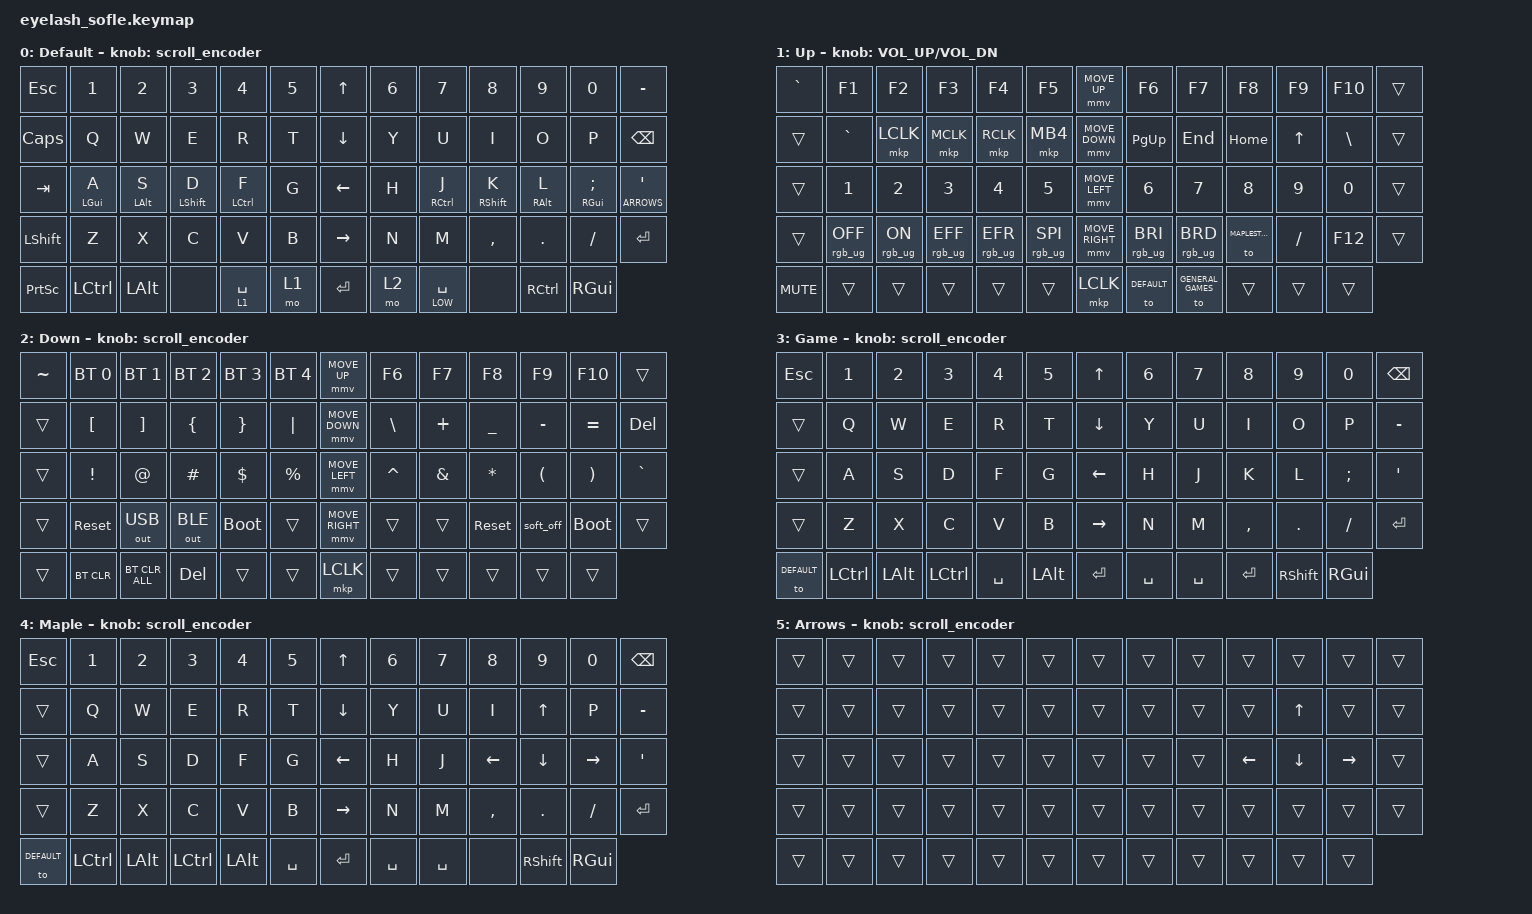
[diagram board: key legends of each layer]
#define ZMK_POINTING_DEFAULT_MOVE_VAL 1200  // 600
#define ZMK_POINTING_DEFAULT_SCRL_VAL 25   // 10
#define DEFAULT 0
#define HIGH 1
#define LOW 2
#define GENERAL_GAMES 3
#define MAPLESTORY 4
#define ARROWS 5

#include <input/processors.dtsi>
#include <zephyr/dt-bindings/input/input-event-codes.h>
#include <behaviors.dtsi>
#include <dt-bindings/zmk/bt.h>
#include <dt-bindings/zmk/keys.h>
#include <dt-bindings/zmk/outputs.h>
#include <dt-bindings/zmk/pointing.h>
#include <dt-bindings/zmk/rgb.h>

&mmv_input_listener { input-processors = <&zip_xy_scaler 2 1>; };

&msc_input_listener { input-processors = <&zip_scroll_scaler 2 1>; };

&msc {
    acceleration-exponent = <1>;      // 0
    time-to-max-speed-ms = <100>;       // 300
    delay-ms = <0>;                   // 0
};

&mmv {
    time-to-max-speed-ms = <500>;
    acceleration-exponent = <1>;
    trigger-period-ms = <16>;
};

&soft_off { hold-time-ms = <2000>; };

/ {
    scroll_encoder: scroll_encoder {
        compatible = "zmk,behavior-sensor-rotate";
        #sensor-binding-cells = <0>;
        bindings = <&msc SCRL_DOWN>, <&msc SCRL_UP>;

        tap-ms = <100>;
    };

    behaviors {
      mt: mod_tap {
            compatible = "zmk,behavior-hold-tap";
            #binding-cells = <2>;
            flavor = "balanced";
            tapping-term-ms = <150>;
            bindings = <&kp>, <&kp>;
            display-name = "Mod-Tap";
            quick-tap-ms = <200>;
        };
    };

    combos {
        compatible = "zmk,combos";

        softoff {
            bindings = <&soft_off>;
            key-positions = <14 28 40>;
        };
    };

    keymap {
        compatible = "zmk,keymap";

        layer0 {
            bindings = <
&kp ESC      &kp N1     &kp N2        &kp N3         &kp N4      &kp N5       &kp UP_ARROW     &kp N6     &kp N7          &kp N8       &kp N9           &kp N0        &kp MINUS
&kp CAPS     &kp Q      &kp W         &kp E          &kp R       &kp T        &kp DOWN_ARROW   &kp Y      &kp U           &kp I        &kp O            &kp P         &kp BACKSPACE
&kp TAB      &mt LGUI A &mt LALT S    &mt LSHIFT D   &mt LCTRL F &kp G        &kp LEFT_ARROW   &kp H      &mt RCTRL J     &mt RSHIFT K &mt RALT L       &mt RGUI SEMI &lt ARROWS APOS
&kp LSHFT    &kp Z      &kp X         &kp C          &kp V       &kp B        &kp RIGHT_ARROW  &kp N      &kp M           &kp COMMA    &kp DOT          &kp FSLH      &kp ENTER
&kp PSCRN    &kp LCTRL  &kp LEFT_ALT  &none          &lt 1 SPACE &mo 1        &kp ENTER        &mo 2      &lt LOW SPACE   &none        &kp RCTRL        &kp RGUI
            >;

            display-name = "Default";
            sensor-bindings = <&scroll_encoder>;
        };

        layer_1 {
            bindings = <
&kp GRAVE   &kp F1           &kp F2          &kp F3           &kp F4           &kp F5             &mmv MOVE_UP     &kp F6           &kp F7                  &kp F8           &kp F9     &kp F10           &trans
&trans      &kp GRAVE        &mkp LCLK       &mkp MCLK        &mkp RCLK        &mkp MB4           &mmv MOVE_DOWN   &kp PG_UP        &kp END                 &kp HOME         &kp UP     &kp BSLH          &trans
&trans      &kp N1           &kp N2          &kp N3           &kp N4           &kp N5             &mmv MOVE_LEFT   &kp N6           &kp N7                  &kp N8           &kp N9     &kp N0            &trans
&trans      &rgb_ug RGB_OFF  &rgb_ug RGB_ON  &rgb_ug RGB_EFF  &rgb_ug RGB_EFR  &rgb_ug RGB_SPI    &mmv MOVE_RIGHT  &rgb_ug RGB_BRI  &rgb_ug RGB_BRD         &to MAPLESTORY   &kp FSLH   &kp F12           &trans
&kp C_MUTE  &trans           &trans          &trans           &trans           &trans             &mkp LCLK        &to DEFAULT      &to GENERAL_GAMES       &trans           &trans     &trans
            >;

            display-name = "Up";
            sensor-bindings = <&inc_dec_kp C_VOLUME_UP C_VOL_DN>;
        };

// []{}|\+_-=
// !@#$%ˆ&*()`
        layer_2 {
            bindings = <
&kp TILDE  &bt BT_SEL 0           &bt BT_SEL 1       &bt BT_SEL 2      &bt BT_SEL 3           &bt BT_SEL 4    &mmv MOVE_UP     &kp F6          &kp F7          &kp F8               &kp F9       &kp F10      &trans
&trans     &kp LEFT_BRACKET       &kp RIGHT_BRACKET  &kp LEFT_BRACE    &kp RIGHT_BRACE        &kp PIPE        &mmv MOVE_DOWN   &kp BACKSLASH   &kp PLUS        &kp UNDERSCORE       &kp MINUS    &kp EQUAL    &kp DEL
&trans     &kp EXCLAMATION        &kp AT             &kp HASH          &kp DOLLAR             &kp PERCENT     &mmv MOVE_LEFT   &kp CARET       &kp AMPERSAND   &kp ASTERISK         &kp LPAR     &kp RPAR     &kp GRAVE
&trans     &sys_reset             &out OUT_USB       &out OUT_BLE      &bootloader            &trans          &mmv MOVE_RIGHT  &trans          &trans          &sys_reset           &soft_off    &bootloader  &trans
&trans     &bt BT_CLR             &bt BT_CLR_ALL     &kp DEL           &trans                 &trans          &mkp LCLK        &trans          &trans          &trans               &trans       &trans
            >;

            display-name = "Down";
            sensor-bindings = <&scroll_encoder>;
        };

        layer_3 {
            bindings = <
&kp ESC     &kp N1         &kp N2        &kp N3            &kp N4           &kp N5           &kp UP_ARROW     &kp N6           &kp N7     &kp N8           &kp N9           &kp N0           &kp BACKSPACE
&trans      &kp Q          &kp W         &kp E             &kp R            &kp T            &kp DOWN_ARROW   &kp Y            &kp U      &kp I            &kp O            &kp P            &kp MINUS
&trans      &kp A          &kp S         &kp D             &kp F            &kp G            &kp LEFT_ARROW   &kp H            &kp J      &kp K            &kp L            &kp SEMI         &kp APOS
&trans      &kp Z          &kp X         &kp C             &kp V            &kp B            &kp RIGHT_ARROW  &kp N            &kp M      &kp COMMA        &kp DOT          &kp FSLH         &kp ENTER
&to DEFAULT &kp LCTRL      &kp LALT      &kp LCTRL         &kp SPACE        &kp LALT        &kp ENTER        &kp SPACE        &kp SPACE  &kp ENTER        &kp RIGHT_SHIFT  &kp RGUI
            >;

            display-name = "Game";
            sensor-bindings = <&scroll_encoder>;
        };

        layer_4 {
            bindings = <
&kp ESC     &kp N1         &kp N2        &kp N3            &kp N4           &kp N5           &kp UP_ARROW     &kp N6           &kp N7     &kp N8           &kp N9           &kp N0           &kp BACKSPACE
&trans      &kp Q          &kp W         &kp E             &kp R            &kp T            &kp DOWN_ARROW   &kp Y            &kp U      &kp I            &kp UP           &kp P            &kp MINUS
&trans      &kp A          &kp S         &kp D             &kp F            &kp G            &kp LEFT_ARROW   &kp H            &kp J      &kp LEFT         &kp DOWN         &kp RIGHT        &kp APOS
&trans      &kp Z          &kp X         &kp C             &kp V            &kp B            &kp RIGHT_ARROW  &kp N            &kp M      &kp COMMA        &kp DOT          &kp FSLH         &kp ENTER
&to DEFAULT &kp LCTRL      &kp LALT      &kp LCTRL         &kp LALT         &kp SPACE        &kp ENTER        &kp SPACE        &kp SPACE  &none            &kp RIGHT_SHIFT  &kp RGUI
            >;

            display-name = "Maple";
            sensor-bindings = <&scroll_encoder>;
        };

        layer_5 {
            bindings = <
&trans      &trans        &trans      &trans        &trans      &trans        &trans      &trans        &trans      &trans          &trans        &trans           &trans
&trans      &trans        &trans      &trans        &trans      &trans        &trans      &trans        &trans      &trans          &kp UP        &trans           &trans
&trans      &trans        &trans      &trans        &trans      &trans        &trans      &trans        &trans      &kp LEFT        &kp DOWN      &kp RIGHT        &trans
&trans      &trans        &trans      &trans        &trans      &trans        &trans      &trans        &trans      &trans          &trans        &trans           &trans
&trans      &trans        &trans      &trans        &trans      &trans        &trans      &trans        &trans      &trans          &trans        &trans
            >;

            display-name = "Arrows";
            sensor-bindings = <&scroll_encoder>;
        };
    };
};
